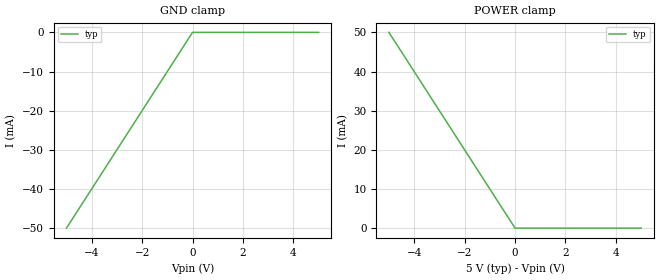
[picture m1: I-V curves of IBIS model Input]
[IBIS Ver]   4.1
[File name]   ibis_v4_1_series_pin_mapping.ibs
[File Rev]   1.0
[Date]   22/04/2026
[Source]   Artificial data for KiCad QA (issue #23568)
[Notes]   Covers the [Series Pin Mapping] keyword added in IBIS 4.1
[Disclaimer]   This is NOT a valid component
[Component]   SeriesSwitchDevice
[Manufacturer]  KiCad
[Package]
R_pkg   50m   40m   60m
L_pkg   2n   NA   NA
C_pkg   10p   NA   NA
[Pin]   signal_name   model_name   R_pin   L_pin   C_pin
  1   IN_A   Input   55m   NA   0.2p
  2   OUT_A   Input   55m   NA   0.2p
  3   IN_B   Input   55m   NA   0.2p
  4   OUT_B   Input   55m   NA   0.2p
| [Series Pin Mapping] was introduced in IBIS 4.1. It associates pairs of
| component pins with a series-element model; KiCad must accept the keyword
| without aborting the parse even when it does not yet simulate the model.
[Series Pin Mapping]
|  pin_1   pin_2   model_name
   1   2   series_switch
   3   4   series_switch
| Models and submodels in the file (1): Input (Input)
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[Model]   Input
Model_type   Input
Polarity   Non-Inverting
Enable   Active-High
Vinl = 0.8V
Vinh = 2.0V
C_comp   1.0pF   0.5pF   2.0pF
[Voltage range]   5.0V   4.5V   5.5V
[GND_clamp]
|  Voltage   I(typ)   I(min)   I(max)
-5V       -50mA      NA         NA
0V        0A         NA         NA
5V        0A         NA         NA
[POWER_clamp]
|  Voltage   I(typ)   I(min)   I(max)
-5V       50mA       NA         NA
0V        0A         NA         NA
5V        0A         NA         NA
